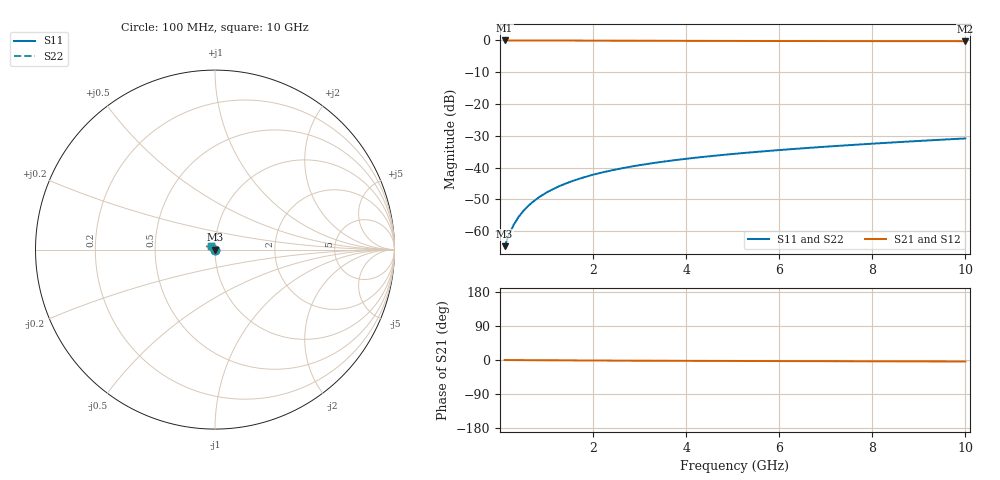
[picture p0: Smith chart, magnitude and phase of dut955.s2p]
! Touchstone file exported from HFSS 2024.1.0
!  File:  C:/UserFiles/LocalFiles/RDL_TSV_Batchsim/temp_TSV1_955_1779949703.aedt
!  Generated:  02:34:56 PM May 28, 2026
!  Design:  TSV1
!  Project:  temp_TSV1_955_1779949703
!  Setup:  Setup1
!  Solution:  Sweep
! Variables:
!  dtsv = 5.11um
!  hbump = 3um
!  htsv = 55.67um
!  lrdl = 252.1521522um
!  p = 40
!  p1 = 46.62um
!  t = 500um
!  trdl = 3um
!  wrdl = 24.89489489um
# GHz S MA R 50.000000
! Terminal data exported
! Port[1] = TSV22_T1
! Port[2] = TSV22_T2
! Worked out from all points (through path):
!   100 points, 100 MHz to 10 GHz, reference 50 ohm
!   highest |S21| = 0.00 dB at 100 MHz (marker M1); lowest = -0.2 dB at 10 GHz (marker M2)
!   lowest |S11| = -64.8 dB at 100 MHz (marker M3), VSWR 1.00, Z = 50 - j0.0415 ohm
!   |S11| at or under -10 dB: start of sweep to end of sweep
!   |S22| runs from -64.8 to -30.8 dB; largest |S21 - S12| = 3.6e-15
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0.1  0.0005784 -45.8  0.9996 -0.1  0.9996 -0.1  0.0005784 -45.8
! Gamma 0 0 0 0
! Port Impedance 50 0 50 0
0.2  0.0009005 -67.5  0.9995 -0.2  0.9995 -0.2  0.0009005 -67.5
0.3  0.001274 -78.5  0.9994 -0.2  0.9994 -0.2  0.001274 -78.5
0.4  0.001665 -85.5  0.9993 -0.3  0.9993 -0.3  0.001665 -85.5
0.5  0.002062 -90.6  0.9991 -0.4  0.9991 -0.4  0.002062 -90.6
0.6  0.002459 -94.8  0.9989 -0.4  0.9989 -0.4  0.002459 -94.8
0.7  0.002856 -98.4  0.9987 -0.5  0.9987 -0.5  0.002856 -98.4
0.8  0.003251 -101.7  0.9984 -0.6  0.9984 -0.6  0.003251 -101.7
0.9  0.003644 -104.7  0.9982 -0.7  0.9982 -0.7  0.003644 -104.7
1  0.004033 -107.6  0.9979 -0.7  0.9979 -0.7  0.004033 -107.6
1.2  0.0048 -112.9  0.9972 -0.9  0.9972 -0.9  0.0048 -112.9
1.5  0.005919 -120.3  0.9961 -1.1  0.9961 -1.1  0.005919 -120.3
1.8  0.006997 -127.1  0.9948 -1.2  0.9948 -1.2  0.006997 -127.1
2.1  0.008031 -133.6  0.9935 -1.4  0.9935 -1.4  0.008031 -133.6
2.5  0.009344 -141.5  0.9917 -1.6  0.9917 -1.6  0.009344 -141.5
2.9  0.01059 -148.9  0.9898 -1.8  0.9898 -1.8  0.01059 -148.9
3.4  0.01205 -157.3  0.9877 -2.0  0.9877 -2.0  0.01205 -157.3
4.2  0.01425 -169.1  0.9846 -2.3  0.9846 -2.3  0.01425 -169.1
5.1  0.01658 179.7  0.9817 -2.6  0.9817 -2.6  0.01658 179.7
6.7  0.02054 163.9  0.9779 -3.0  0.9779 -3.0  0.02054 163.9
8.4  0.02471 151.5  0.9752 -3.5  0.9752 -3.5  0.02471 151.5
10  0.02869 142.6  0.9733 -4.0  0.9733 -4.0  0.02869 142.6
